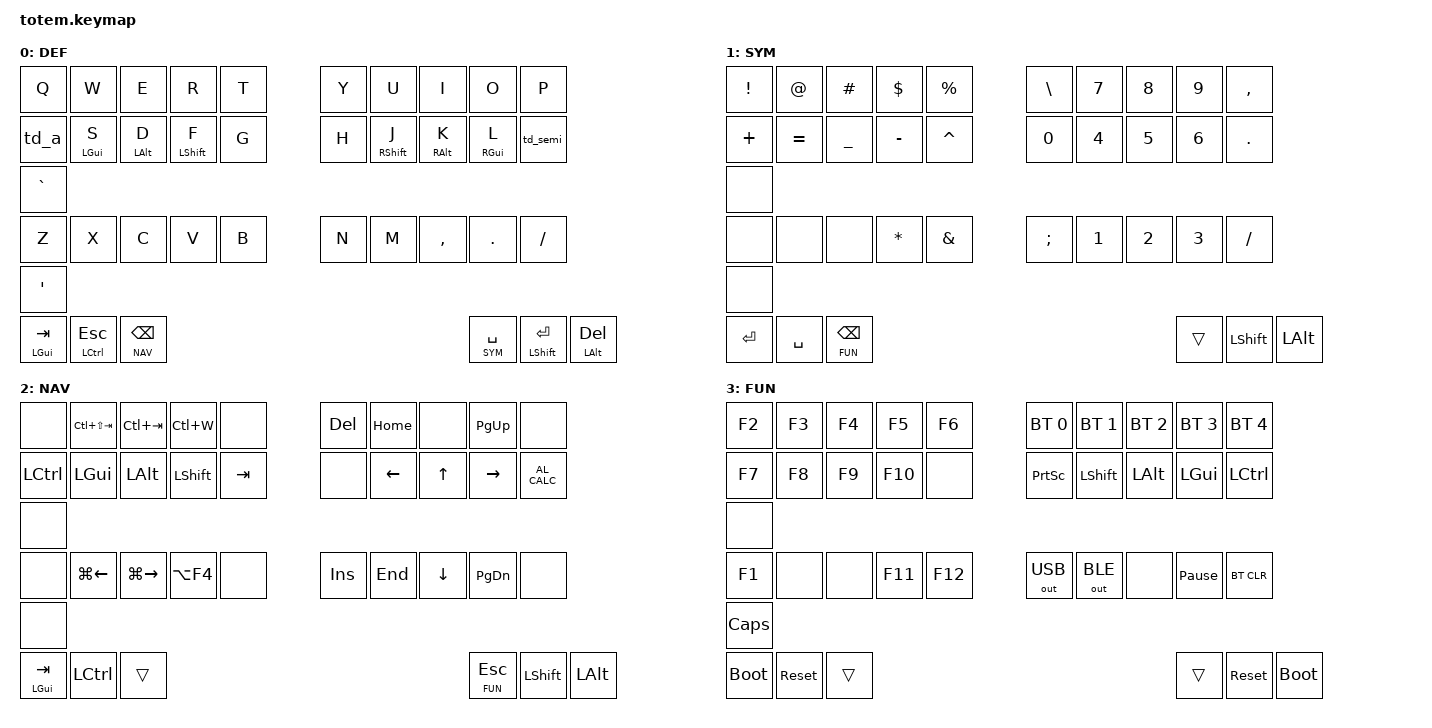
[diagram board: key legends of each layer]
/*
 * TOTEM 38-key ZMK keymap — C++ / C# / Visual Studio optimized
 *
 * ─── BEFORE BUILDING ────────────────────────────────────────────────────────
 * Add zmk-tri-state to your config/west.yml:
 *
 *   manifest:
 *     remotes:
 *       - name: zmkfirmware
 *         url-base: https://github.com/zmkfirmware
 *       - name: dhruvinsh
 *         url-base: https://github.com/dhruvinsh
 *     projects:
 *       - name: zmk
 *         remote: zmkfirmware
 *         revision: main
 *         import: app/west.yml
 *       - name: zmk-tri-state
 *         remote: dhruvinsh
 *         revision: main
 *     self:
 *       path: config
 *
 * ─── KEY POSITION REFERENCE ─────────────────────────────────────────────────
 *
 *   (used by hold-trigger-key-positions and combo key-positions)
 *
 *    0   1   2   3   4       5   6   7   8   9     <- top row (10)
 *   10  11  12  13  14  15  16  17  18  19         <- mid row inner (10)
 *  20                                        31    <- outer mid pinkies
 *       21  22  23  24  25  26  27  28  29  30     <- bot row (10)
 *               32  33  34      35  36  37         <- thumbs (6)
 *
 *    Q   W   E   R   T       Y   U   I   O   P
 *    A   S   D   F   G   H   J   K   L   ;
 *  `                                         '
 *        Z   X   C   V   B   N   M   ,   .   /
 *              Tab Esc Bsp     Spc Ent Del
 *
 * ─── LAYERS ─────────────────────────────────────────────────────────────────
 *   0 DEF  QWERTY + Home Row Mods + tap-dance on A and ;
 *   1 SYM  Symbols (L) + numpad (R)          — hold left-inner thumb (Spc)
 *   2 NAV  Window/tab mgmt (L) + arrows (R)  — hold right-inner thumb (Bsp)
 *   3 FUN  F-keys (L) + modifiers (R)        — hold SYM thumb while NAV active
 *                                               or hold NAV thumb while SYM active
 *
 * ─── HOME ROW MODS ──────────────────────────────────────────────────────────
 *   Left:   A=Ctrl  S=Gui  D=Alt  F=Shift
 *   Right:  J=Shift  K=Alt  L=Gui  ;=Ctrl
 *
 *   Timeless configuration (hold-trigger-on-release + require-prior-idle-ms):
 *   modifier only fires when an opposite-hand key is released while held,
 *   preventing misfires during fast same-hand rolls.
 *
 * ─── TAP-DANCE ───────────────────────────────────────────────────────────────
 *   A : tap = A (Ctrl HRM)   double-tap = ->  (C++ member/ptr access, lambda)
 *   ; : tap = ; (Ctrl HRM)   double-tap = ::  (C++ scope, C# namespaces)
 *
 *   Tap-dance tapping-term (200ms) < HRM tapping-term (280ms): ZMK resolves
 *   tap-dance first, so hold on A still activates Ctrl correctly.
 *
 * ─── ALT+TAB SWAPPER (zmk-tri-state) ────────────────────────────────────────
 *   Combo: Left+Right on NAV layer (positions 16+18, non-adjacent to avoid
 *   accidental trigger during normal arrow navigation).
 *
 *   Behavior:
 *     First combo press  — Alt ON + Tab  → opens Windows switcher
 *     Same combo again   — Tab           → cycles forward (Alt stays held)
 *     Left/Up/Right/Down — navigate switcher (ignored keys, Alt stays held)
 *     Any other key      — Alt OFF, then that key fires normally
 *
 *   This means: Esc cancels, Enter confirms — no extra macros needed.
 */

#include <behaviors.dtsi>
#include <dt-bindings/zmk/keys.h>
#include <dt-bindings/zmk/bt.h>
#include <dt-bindings/zmk/outputs.h>

// ── Layer indices ─────────────────────────────────────────────────────────────
#define DEF 0
#define SYM 1
#define NAV 2
#define FUN 3

// ── Tune built-in behaviors ───────────────────────────────────────────────────
// quick-tap-ms: tapping a layer-tap or mod-tap key twice quickly always sends
// the tap, even if the second tap is held. Makes Bspc/Space repeatable.
&lt { quick-tap-ms = <175>; };
&mt { quick-tap-ms = <175>; };

/ {

// ════════════════════════════════════════════════════════════════════════════════
// MACROS
// ════════════════════════════════════════════════════════════════════════════════
    macros {

        // ->  C++ pointer member access, lambda return type
        m_arrow: m_arrow {
            compatible = "zmk,behavior-macro";
            #binding-cells = <0>;
            wait-ms = <0>;
            tap-ms  = <10>;
            bindings = <&kp MINUS &kp GT>;
        };

        // ::  C++ scope resolution, C# fully-qualified names
        m_scope: m_scope {
            compatible = "zmk,behavior-macro";
            #binding-cells = <0>;
            wait-ms = <0>;
            tap-ms  = <10>;
            bindings = <&kp COLON &kp COLON>;
        };

        // ==  equality operator
        m_eq: m_eq {
            compatible = "zmk,behavior-macro";
            #binding-cells = <0>;
            wait-ms = <0>;
            tap-ms  = <10>;
            bindings = <&kp EQUAL &kp EQUAL>;
        };

        // !=  inequality operator
        m_neq: m_neq {
            compatible = "zmk,behavior-macro";
            #binding-cells = <0>;
            wait-ms = <0>;
            tap-ms  = <10>;
            bindings = <&kp EXCL &kp EQUAL>;
        };
    };


// ════════════════════════════════════════════════════════════════════════════════
// BEHAVIORS
// ════════════════════════════════════════════════════════════════════════════════
    behaviors {

        // ── Home Row Mod — LEFT hand ──────────────────────────────────────────
        // Modifier fires only when an opposite-hand (right-side) key is released
        // while this key is held. Safe for fast left-hand rolls.
        hml: hml {
            compatible = "zmk,behavior-hold-tap";
            #binding-cells = <2>;
            flavor = "balanced";
            tapping-term-ms = <280>;
            quick-tap-ms = <175>;
            require-prior-idle-ms = <150>;
            bindings = <&kp>, <&kp>;
            // Right side: top(5-9) mid(15-19) outer-R(31) bot(26-30) thumbs(35-37)
            hold-trigger-key-positions = <5 6 7 8 9 15 16 17 18 19 31 26 27 28 29 30 35 36 37>;
            hold-trigger-on-release;
        };

        // ── Home Row Mod — RIGHT hand ─────────────────────────────────────────
        // Modifier fires only when an opposite-hand (left-side) key is released
        // while this key is held. Safe for fast right-hand rolls.
        hmr: hmr {
            compatible = "zmk,behavior-hold-tap";
            #binding-cells = <2>;
            flavor = "balanced";
            tapping-term-ms = <280>;
            quick-tap-ms = <175>;
            require-prior-idle-ms = <150>;
            bindings = <&kp>, <&kp>;
            // Left side: top(0-4) mid(10-14) outer-L(20) bot(21-25) thumbs(32-34)
            hold-trigger-key-positions = <0 1 2 3 4 10 11 12 13 14 20 21 22 23 24 25 32 33 34>;
            hold-trigger-on-release;
        };

        // ── Tap-dance A ───────────────────────────────────────────────────────
        // Single tap → A  (hml: hold=Ctrl, tap=A)
        // Double-tap → -> (m_arrow macro)
        td_a: td_a {
            compatible = "zmk,behavior-tap-dance";
            #binding-cells = <0>;
            tapping-term-ms = <200>;
            bindings = <&hml LCTRL A>, <&m_arrow>;
        };

        // ── Tap-dance ; ───────────────────────────────────────────────────────
        // Single tap → ;  (hmr: hold=Ctrl, tap=;)
        // Double-tap → :: (m_scope macro)
        td_semi: td_semi {
            compatible = "zmk,behavior-tap-dance";
            #binding-cells = <0>;
            tapping-term-ms = <200>;
            bindings = <&hmr LCTRL SEMI>, <&m_scope>;
        };

        // ── Alt+Tab swapper (zmk-tri-state) ──────────────────────────────────
        // See header comment for full behavior description.
        // ignored-key-positions: Left(16) Up(17) Right(18) Down(28)
        swap: swap {
            compatible = "zmk,behavior-tri-state";
            #binding-cells = <0>;
            bindings = <&kt LALT>, <&kp TAB>, <&kt LALT>;
            ignored-key-positions = <16 17 18 28>;
        };
    };


// ════════════════════════════════════════════════════════════════════════════════
// COMBOS
// ════════════════════════════════════════════════════════════════════════════════
    combos {
        compatible = "zmk,combos";

        // ── Brackets — top row, DEF layer ────────────────────────────────────
        // Adjacent pairs well away from HRM keys — negligible false-trigger risk.
        // Symmetric layout: opening brackets left (moving inward), closing right.
        //   Q+W=[ W+E={ E+R=(       U+I=) I+O=} O+P=]
        combo_lbkt { timeout-ms = <50>; key-positions = <0 1>; bindings = <&kp LBKT>; layers = <DEF>; };
        combo_lbrc { timeout-ms = <50>; key-positions = <1 2>; bindings = <&kp LBRC>; layers = <DEF>; };
        combo_lpar { timeout-ms = <50>; key-positions = <2 3>; bindings = <&kp LPAR>; layers = <DEF>; };
        combo_rpar { timeout-ms = <50>; key-positions = <6 7>; bindings = <&kp RPAR>; layers = <DEF>; };
        combo_rbrc { timeout-ms = <50>; key-positions = <7 8>; bindings = <&kp RBRC>; layers = <DEF>; };
        combo_rbkt { timeout-ms = <50>; key-positions = <8 9>; bindings = <&kp RBKT>; layers = <DEF>; };

        // ── Operator combos — bot row, DEF layer ─────────────────────────────
        //   M+,  → ==   (most frequent multi-char operator in C++/C#)
        //   ,+.  → !=
        combo_eq  { timeout-ms = <50>; key-positions = <27 28>; bindings = <&m_eq>;  layers = <DEF>; };
        combo_neq { timeout-ms = <50>; key-positions = <28 29>; bindings = <&m_neq>; layers = <DEF>; };

        // ── Alt+Tab swapper — NAV layer ───────────────────────────────────────
        // Left(16) + Right(18): non-adjacent, avoids accidental trigger.
        combo_swap { timeout-ms = <50>; key-positions = <16 18>; bindings = <&swap>; layers = <NAV>; };
    };


// ════════════════════════════════════════════════════════════════════════════════
// KEYMAP  —  38 bindings per layer, in position order 0-37
// ════════════════════════════════════════════════════════════════════════════════
    keymap {
        compatible = "zmk,keymap";

// ── DEF ──────────────────────────────────────────────────────────────────────
        def_layer {
            label = "DEF";
            bindings = <
// pos  0      1      2      3      4             5      6      7      8      9
    &kp Q  &kp W  &kp E  &kp R  &kp T         &kp Y  &kp U  &kp I  &kp O  &kp P
// pos 10     11     12     13     14    15    16     17     18     19
    &td_a  &hml LGUI S  &hml LALT D  &hml LSHFT F  &kp G  &kp H  &hmr RSHFT J  &hmr RALT K  &hmr RGUI L  &td_semi
// pos 20
    &kp GRAVE
// pos 21     22     23     24     25    26    27     28         29       30
    &kp Z  &kp X  &kp C  &kp V  &kp B  &kp N  &kp M  &kp COMMA  &kp DOT  &kp FSLH
// pos 31
    &kp SQT
// pos 32             33               34                 35              36               37
    &mt LGUI TAB  &mt LCTRL ESC  &lt NAV BSPC       &lt SYM SPACE  &mt LSHFT RET  &mt LALT DEL
            >;
        };

// ── SYM ──────────────────────────────────────────────────────────────────────
// Left — symbols. Right — numpad.
// 0 on home row (most frequent digit in code indexing and comparisons).
// FUN layer via holding pos 34 (NAV thumb) while SYM is active.
        sym_layer {
            label = "SYM";
            bindings = <
// pos  0          1        2          3          4              5          6        7        8        9
    &kp EXCL  &kp AT  &kp HASH  &kp DLLR  &kp PRCNT       &kp BSLH  &kp N7  &kp N8  &kp N9  &kp COMMA
// pos 10         11           12           13           14    15      16       17       18       19
    &kp PLUS  &kp EQUAL  &kp UNDER  &kp MINUS  &kp CARET  &kp N0  &kp N4  &kp N5  &kp N6  &kp DOT
// pos 20
    &none
// pos 21   22     23     24          25          26         27       28       29          30
    &none  &none  &none  &kp STAR  &kp AMPS   &kp SEMI  &kp N1  &kp N2  &kp N3  &kp FSLH
// pos 31
    &none
// pos 32        33            34                  35       36            37
    &kp RET  &kp SPACE  &lt FUN BSPC           &trans  &kp LSHFT  &kp LALT
            >;
        };

// ── NAV ──────────────────────────────────────────────────────────────────────
// Left — window/tab management. Right — arrow cluster + home/end/page.
//
// Left mid row carries plain modifier keys so VS shortcuts work by holding
// a modifier here while tapping the action key on the right hand.
// e.g. Ctrl+Right (next word): hold pos 10 (Ctrl) + tap Right (pos 18)
//      Shift+Down (select line): hold pos 13 (Shift) + tap Down (pos 28)
//
// Window shortcuts:
//   Tab←   = Ctrl+Shift+Tab   (prev editor tab)
//   Tab→   = Ctrl+Tab         (next editor tab)
//   Tab×   = Ctrl+W           (close tab — works VS Code; use Ctrl+F4 for VS)
//   Win←   = Win+Left         (snap window left)
//   Win→   = Win+Right        (snap window right)
//   Win×   = Alt+F4           (close window)
//
// FUN layer: hold pos 35 (SYM thumb) while NAV is active.
        nav_layer {
            label = "NAV";
            bindings = <
// pos  0     1                     2               3           4              5          6           7       8           9
    &none  &kp LC(LS(TAB))  &kp LC(TAB)  &kp LC(W)  &none     &kp DEL  &kp HOME  &none  &kp PG_UP  &none
// pos 10          11           12           13             14          15      16            17         18            19
    &kp LCTRL  &kp LGUI  &kp LALT  &kp LSHFT  &kp TAB  &none   &kp LEFT  &kp UP  &kp RIGHT  &kp C_AL_CALC
// pos 20
    &none
// pos 21    22               23               24            25         26         27         28          29           30
    &none  &kp LG(LEFT)  &kp LG(RIGHT)  &kp LA(F4)  &none   &kp INS  &kp END  &kp DOWN  &kp PG_DN  &none
// pos 31
    &none
// pos 32             33            34                 35             36            37
    &mt LGUI TAB  &kp LCTRL  &trans                &lt FUN ESC  &kp LSHFT  &kp LALT
            >;
        };

// ── FUN ──────────────────────────────────────────────────────────────────────
// F-keys on left hand, plain modifier keys on right hand for F-key chords.
//
// F5/F10/F11 column (index finger, positions 3/13/24 = vertical column):
//   F5  Start Debugging        F10  Step Over
//   F11 Step Into              F4   above F5 on top row
//   F9  Toggle Breakpoint      F12  Go to Definition (pinky reach, infrequent hold)
//
// Right-hand modifiers (plain kp, not HRM — both thumbs already occupied):
//   Shift(16)  Alt(17)  Gui(18)  Ctrl(19)
//   Example chords (left thumb holds FUN, right holds modifier, left finger taps F-key):
//     Shift+F5  (Stop Debug)   → pos 16 + pos 3
//     Ctrl+F5   (Run no debug) → pos 19 + pos 3
//     Shift+F11 (Step Out)     → pos 16 + pos 24
//     Alt+F4    (Close window) → pos 17 + pos 2
//
// Device keys:
//   BT_SEL 0-4: select Bluetooth profile
//   OUT_USB / OUT_BLE: force USB or BLE output
//   BT_CLR: clear current BT profile pairing
//   PAUSE_BREAK: break / pause execution (VS debugger)
//   CAPS: Caps Lock on outer-R pinky (rarely needed)
//
// Thumbs: bootloader and sys_reset for firmware flashing.
        fun_layer {
            label = "FUN";
            bindings = <
// pos  0        1        2        3        4              5               6               7               8               9
    &kp F2  &kp F3  &kp F4  &kp F5  &kp F6         &bt BT_SEL 0  &bt BT_SEL 1  &bt BT_SEL 2  &bt BT_SEL 3  &bt BT_SEL 4
// pos 10       11       12        13      14       15          16          17          18           19
    &kp F7  &kp F8  &kp F9  &kp F10  &none  &kp PSCRN  &kp LSHFT  &kp LALT  &kp LGUI  &kp LCTRL
// pos 20
    &none
// pos 21      22     23        24        25              26            27         28                  29              30
    &kp F1  &none  &none  &kp F11  &kp F12        &out OUT_USB  &out OUT_BLE  &none  &kp PAUSE_BREAK  &bt BT_CLR
// pos 31
    &kp CAPS
// pos 32           33            34                35            36            37
    &bootloader  &sys_reset  &trans            &trans  &sys_reset  &bootloader
            >;
        };
    };
};
